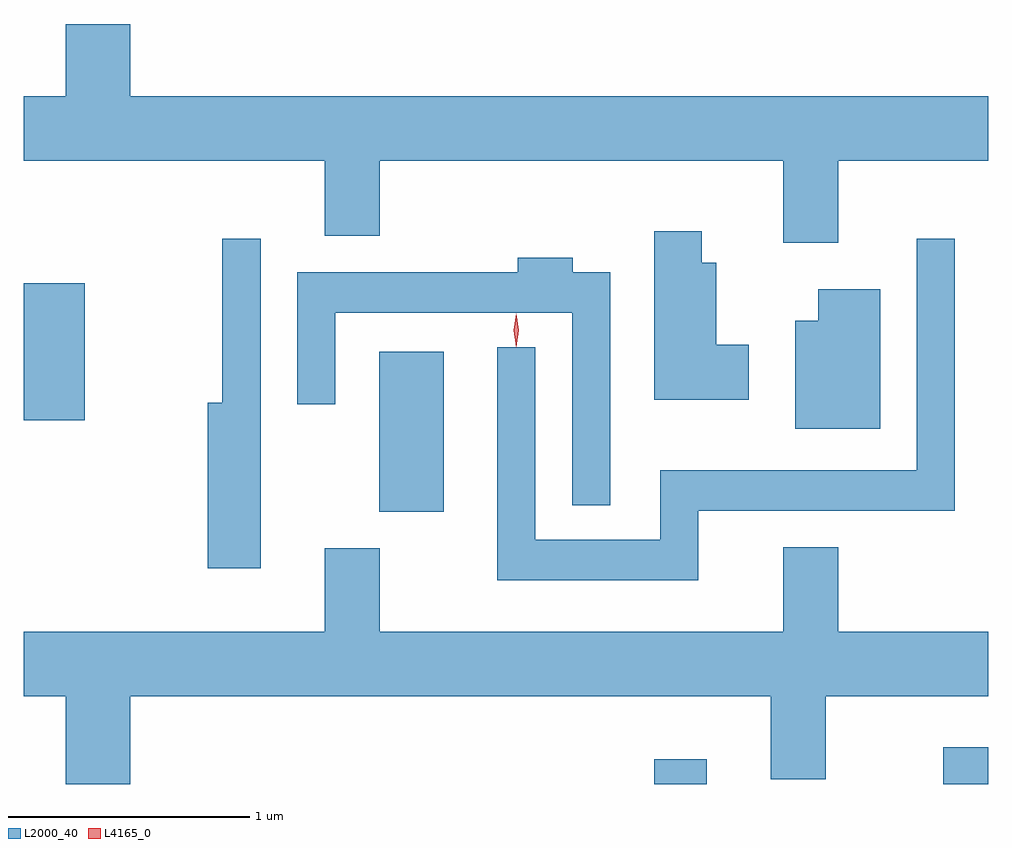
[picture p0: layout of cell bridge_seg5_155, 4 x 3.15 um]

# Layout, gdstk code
import gdstk
lib = gdstk.Library(unit=1e-6, precision=1e-09)
def R(c, l, rs):  # rectangles x0, y0, x1, y1
    for r in rs: c.add(gdstk.rectangle(r[:2], r[2:], *l))
def P(c, l, *ps):  # polygons
    for p in ps: c.add(gdstk.Polygon(p, *l))
L2000_40 = (2000, 40)
L4165_0 = (4165, 0)

bridge_seg5_155 = lib.new_cell('bridge_seg5_155')
R(bridge_seg5_155, L2000_40, [(1176.556,1416.472,1176.774,1416.574), (1177.756,1416.472,1177.942,1416.624), (1175.416,1417.601,1175.684,1418.264), (1173.942,1417.981,1174.194,1418.549)])
P(bridge_seg5_155, L2000_40, [(1177.319,1419.056),(1177.942,1419.056),(1177.942,1419.324),(1174.384,1419.324),(1174.384,1419.624),(1174.116,1419.624),(1174.116,1419.324),(1173.942,1419.324),(1173.942,1419.056),(1175.191,1419.056),(1175.191,1418.746),(1175.419,1418.746),(1175.419,1419.056),(1177.091,1419.056),(1177.091,1418.716),(1177.319,1418.716)],
  [(1176.949,1418.294),(1176.814,1418.294),(1176.814,1418.634),(1176.754,1418.634),(1176.754,1418.764),(1176.556,1418.764),(1176.556,1418.066),(1176.949,1418.066)],
  [(1176.739,1417.606),(1177.804,1417.606),(1177.804,1418.733),(1177.646,1418.733),(1177.646,1417.774),(1176.581,1417.774),(1176.581,1417.484),(1176.064,1417.484),(1176.064,1418.283),(1175.906,1418.283),(1175.906,1417.316),(1176.739,1417.316)],
  [(1174.924,1418.733),(1174.766,1418.733),(1174.766,1418.054),(1174.706,1418.054),(1174.706,1417.366),(1174.924,1417.366)],
  [(1176.374,1418.594),(1176.219,1418.594),(1176.219,1418.654),(1175.991,1418.654),(1175.991,1418.594),(1175.076,1418.594),(1175.076,1418.048),(1175.234,1418.048),(1175.234,1418.426),(1176.216,1418.426),(1176.216,1417.628),(1176.374,1417.628)],
  [(1177.494,1418.524),(1177.236,1418.524),(1177.236,1418.394),(1177.141,1418.394),(1177.141,1417.946),(1177.494,1417.946)],
  [(1174.384,1416.836),(1177.041,1416.836),(1177.041,1416.491),(1177.269,1416.491),(1177.269,1416.836),(1177.942,1416.836),(1177.942,1417.104),(1177.319,1417.104),(1177.319,1417.454),(1177.091,1417.454),(1177.091,1417.104),(1175.419,1417.104),(1175.419,1417.449),(1175.191,1417.449),(1175.191,1417.104),(1173.942,1417.104),(1173.942,1416.836),(1174.116,1416.836),(1174.116,1416.472),(1174.384,1416.472)])
P(bridge_seg5_155, L4165_0, [(1175.984,1418.287),(1175.984,1418.288),(1175.974,1418.354),(1175.984,1418.42),(1175.984,1418.42),(1175.985,1418.42),(1175.994,1418.354),(1175.985,1418.288)],
  [(1175.984,1418.284),(1175.975,1418.353),(1175.984,1418.422),(1175.985,1418.423),(1175.985,1418.422),(1175.995,1418.353),(1175.985,1418.284),(1175.985,1418.284)])

lib.write_gds('bridge_seg5_155.gds')
